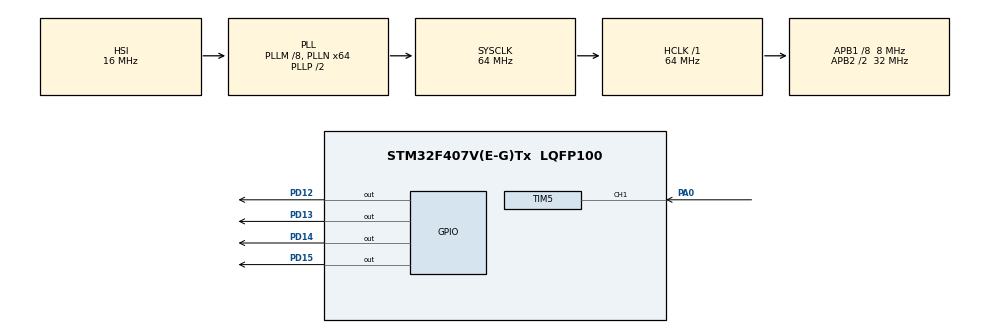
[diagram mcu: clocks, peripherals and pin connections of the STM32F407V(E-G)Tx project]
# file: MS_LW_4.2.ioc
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Mcu.Family=STM32F4
Mcu.Name=STM32F407V(E-G)Tx
Mcu.Package=LQFP100
NVIC.PriorityGroup=NVIC_PRIORITYGROUP_0
NVIC.TIM4_IRQn=true\:0\:0\:false\:false\:true\:true\:true\:true
NVIC.TIM5_IRQn=true\:0\:0\:false\:false\:true\:true\:true\:true
PA0-WKUP.Signal=S_TIM5_CH1
PD12.Signal=GPIO_Output
PD13.Signal=GPIO_Output
PD14.Signal=GPIO_Output
PD15.Signal=GPIO_Output
ProjectManager.HeapSize=0x200
ProjectManager.StackSize=0x400
ProjectManager.TargetToolchain=STM32CubeIDE
RCC.48MHZClocksFreq_Value=18285714.285714287
RCC.AHBFreq_Value=64000000
RCC.APB1CLKDivider=RCC_HCLK_DIV8
RCC.APB1Freq_Value=8000000
RCC.APB1TimFreq_Value=16000000
RCC.APB2CLKDivider=RCC_HCLK_DIV2
RCC.APB2Freq_Value=32000000
RCC.APB2TimFreq_Value=64000000
RCC.CortexFreq_Value=64000000
RCC.HCLKFreq_Value=64000000
RCC.HSE_VALUE=8000000
RCC.HSI_VALUE=16000000
RCC.LSE_VALUE=32768
RCC.PLLM=8
RCC.PLLN=64
RCC.PLLQ=7
RCC.SYSCLKFreq_VALUE=64000000
RCC.SYSCLKSource=RCC_SYSCLKSOURCE_PLLCLK
RCC.VCOOutputFreq_Value=128000000
SH.S_TIM5_CH1.0=TIM5_CH1,Input_Capture1_from_TI1
TIM4.Period=3000
TIM4.Prescaler=16000-1
TIM5.Channel-Input_Capture1_from_TI1=TIM_CHANNEL_1
TIM5.ICFilter_CH1=15
TIM5.ICPolarity_CH1=TIM_INPUTCHANNELPOLARITY_FALLING
TIM5.Period=9000
TIM5.Prescaler=16000-1
VP_TIM4_VS_ClockSourceINT.Mode=Internal
VP_TIM5_VS_ClockSourceINT.Mode=Internal
board=STM32F407G-DISC1

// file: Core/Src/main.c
/* USER CODE BEGIN Header */
/**
  ******************************************************************************
  * @file           : main.c
  * @brief          : Main program body
  ******************************************************************************
  * @attention
  *
  * Copyright (c) 2023 STMicroelectronics.
  * All rights reserved.
  *
  * This software is licensed under terms that can be found in the LICENSE file
  * in the root directory of this software component.
  * If no LICENSE file comes with this software, it is provided AS-IS.
  *
  ******************************************************************************
  */
/* USER CODE END Header */
#include "main.h"

TIM_HandleTypeDef htim4;
TIM_HandleTypeDef htim5;

/* USER CODE BEGIN PV */
extern inputCaptureVal;
extern temp;
/* USER CODE END PV */

void SystemClock_Config(void);
static void MX_GPIO_Init(void);
static void MX_TIM5_Init(void);
static void MX_TIM4_Init(void);

/* USER CODE BEGIN 0 */
uint32_t counterVal;
/* USER CODE END 0 */

int main(void)
{

  /* MCU Configuration--------------------------------------------------------*/

  /* Reset of all peripherals, Initializes the Flash interface and the Systick. */
  HAL_Init();

  /* Configure the system clock */
  SystemClock_Config();

  /* Initialize all configured peripherals */
  MX_GPIO_Init();
  MX_TIM5_Init();
  MX_TIM4_Init();
  /* USER CODE BEGIN 2 */
  HAL_TIM_Base_Start_IT(&htim4);
  HAL_TIM_IC_Start_IT(&htim5, TIM_CHANNEL_1);
  /* USER CODE END 2 */

  /* Infinite loop */
  while (1)
  {

    /* USER CODE BEGIN 3 */
	  counterVal = __HAL_TIM_GetCounter(&htim5);
	if(inputCaptureVal < 3000){
		HAL_GPIO_WritePin(GPIOD, GPIO_PIN_14, GPIO_PIN_SET);
		HAL_GPIO_WritePin(GPIOD, GPIO_PIN_12, GPIO_PIN_RESET);
		HAL_GPIO_WritePin(GPIOD, GPIO_PIN_13, GPIO_PIN_RESET);
	}
	else if(inputCaptureVal >= 3000 & inputCaptureVal < 6000){
		HAL_GPIO_WritePin(GPIOD, GPIO_PIN_14, GPIO_PIN_SET);
		HAL_GPIO_WritePin(GPIOD, GPIO_PIN_13, GPIO_PIN_SET);
		HAL_GPIO_WritePin(GPIOD, GPIO_PIN_12, GPIO_PIN_RESET);
	}
	else if(inputCaptureVal > 6000 & inputCaptureVal < 9000){
		HAL_GPIO_WritePin(GPIOD, GPIO_PIN_14, GPIO_PIN_SET);
		HAL_GPIO_WritePin(GPIOD, GPIO_PIN_13, GPIO_PIN_SET);
		HAL_GPIO_WritePin(GPIOD, GPIO_PIN_12, GPIO_PIN_SET);
	}
	else{
		HAL_GPIO_WritePin(GPIOD, GPIO_PIN_14, GPIO_PIN_RESET);
		HAL_GPIO_WritePin(GPIOD, GPIO_PIN_13, GPIO_PIN_RESET);
		HAL_GPIO_WritePin(GPIOD, GPIO_PIN_12, GPIO_PIN_RESET);
	}
  }
  /* USER CODE END 3 */
}

void SystemClock_Config(void)
{
  RCC_OscInitTypeDef RCC_OscInitStruct = {0};
  RCC_ClkInitTypeDef RCC_ClkInitStruct = {0};

  /** Configure the main internal regulator output voltage
  */
  __HAL_RCC_PWR_CLK_ENABLE();
  __HAL_PWR_VOLTAGESCALING_CONFIG(PWR_REGULATOR_VOLTAGE_SCALE1);

  /** Initializes the RCC Oscillators according to the specified parameters
  * in the RCC_OscInitTypeDef structure.
  */
  RCC_OscInitStruct.OscillatorType = RCC_OSCILLATORTYPE_HSI;
  RCC_OscInitStruct.HSIState = RCC_HSI_ON;
  RCC_OscInitStruct.HSICalibrationValue = RCC_HSICALIBRATION_DEFAULT;
  RCC_OscInitStruct.PLL.PLLState = RCC_PLL_ON;
  RCC_OscInitStruct.PLL.PLLSource = RCC_PLLSOURCE_HSI;
  RCC_OscInitStruct.PLL.PLLM = 8;
  RCC_OscInitStruct.PLL.PLLN = 64;
  RCC_OscInitStruct.PLL.PLLP = RCC_PLLP_DIV2;
  RCC_OscInitStruct.PLL.PLLQ = 7;
  if (HAL_RCC_OscConfig(&RCC_OscInitStruct) != HAL_OK)
  {
    Error_Handler();
  }

  /** Initializes the CPU, AHB and APB buses clocks
  */
  RCC_ClkInitStruct.ClockType = RCC_CLOCKTYPE_HCLK|RCC_CLOCKTYPE_SYSCLK
                              |RCC_CLOCKTYPE_PCLK1|RCC_CLOCKTYPE_PCLK2;
  RCC_ClkInitStruct.SYSCLKSource = RCC_SYSCLKSOURCE_PLLCLK;
  RCC_ClkInitStruct.AHBCLKDivider = RCC_SYSCLK_DIV1;
  RCC_ClkInitStruct.APB1CLKDivider = RCC_HCLK_DIV8;
  RCC_ClkInitStruct.APB2CLKDivider = RCC_HCLK_DIV2;

  if (HAL_RCC_ClockConfig(&RCC_ClkInitStruct, FLASH_LATENCY_2) != HAL_OK)
  {
    Error_Handler();
  }
}

static void MX_TIM4_Init(void)
{

  TIM_ClockConfigTypeDef sClockSourceConfig = {0};
  TIM_MasterConfigTypeDef sMasterConfig = {0};

  htim4.Instance = TIM4;
  htim4.Init.Prescaler = 16000-1;
  htim4.Init.CounterMode = TIM_COUNTERMODE_UP;
  htim4.Init.Period = 3000;
  htim4.Init.ClockDivision = TIM_CLOCKDIVISION_DIV1;
  htim4.Init.AutoReloadPreload = TIM_AUTORELOAD_PRELOAD_DISABLE;
  if (HAL_TIM_Base_Init(&htim4) != HAL_OK)
  {
    Error_Handler();
  }
  sClockSourceConfig.ClockSource = TIM_CLOCKSOURCE_INTERNAL;
  if (HAL_TIM_ConfigClockSource(&htim4, &sClockSourceConfig) != HAL_OK)
  {
    Error_Handler();
  }
  sMasterConfig.MasterOutputTrigger = TIM_TRGO_RESET;
  sMasterConfig.MasterSlaveMode = TIM_MASTERSLAVEMODE_DISABLE;
  if (HAL_TIMEx_MasterConfigSynchronization(&htim4, &sMasterConfig) != HAL_OK)
  {
    Error_Handler();
  }

}

static void MX_TIM5_Init(void)
{

  TIM_ClockConfigTypeDef sClockSourceConfig = {0};
  TIM_MasterConfigTypeDef sMasterConfig = {0};
  TIM_IC_InitTypeDef sConfigIC = {0};

  htim5.Instance = TIM5;
  htim5.Init.Prescaler = 16000-1;
  htim5.Init.CounterMode = TIM_COUNTERMODE_UP;
  htim5.Init.Period = 9000;
  htim5.Init.ClockDivision = TIM_CLOCKDIVISION_DIV1;
  htim5.Init.AutoReloadPreload = TIM_AUTORELOAD_PRELOAD_DISABLE;
  if (HAL_TIM_Base_Init(&htim5) != HAL_OK)
  {
    Error_Handler();
  }
  sClockSourceConfig.ClockSource = TIM_CLOCKSOURCE_INTERNAL;
  if (HAL_TIM_ConfigClockSource(&htim5, &sClockSourceConfig) != HAL_OK)
  {
    Error_Handler();
  }
  if (HAL_TIM_IC_Init(&htim5) != HAL_OK)
  {
    Error_Handler();
  }
  sMasterConfig.MasterOutputTrigger = TIM_TRGO_RESET;
  sMasterConfig.MasterSlaveMode = TIM_MASTERSLAVEMODE_DISABLE;
  if (HAL_TIMEx_MasterConfigSynchronization(&htim5, &sMasterConfig) != HAL_OK)
  {
    Error_Handler();
  }
  sConfigIC.ICPolarity = TIM_INPUTCHANNELPOLARITY_FALLING;
  sConfigIC.ICSelection = TIM_ICSELECTION_DIRECTTI;
  sConfigIC.ICPrescaler = TIM_ICPSC_DIV1;
  sConfigIC.ICFilter = 15;
  if (HAL_TIM_IC_ConfigChannel(&htim5, &sConfigIC, TIM_CHANNEL_1) != HAL_OK)
  {
    Error_Handler();
  }

}

static void MX_GPIO_Init(void)
{
  GPIO_InitTypeDef GPIO_InitStruct = {0};

  /* GPIO Ports Clock Enable */
  __HAL_RCC_GPIOA_CLK_ENABLE();
  __HAL_RCC_GPIOD_CLK_ENABLE();

  /*Configure GPIO pin Output Level */
  HAL_GPIO_WritePin(GPIOD, GPIO_PIN_12|GPIO_PIN_13|GPIO_PIN_14|GPIO_PIN_15, GPIO_PIN_RESET);

  /*Configure GPIO pins : PD12 PD13 PD14 PD15 */
  GPIO_InitStruct.Pin = GPIO_PIN_12|GPIO_PIN_13|GPIO_PIN_14|GPIO_PIN_15;
  GPIO_InitStruct.Mode = GPIO_MODE_OUTPUT_PP;
  GPIO_InitStruct.Pull = GPIO_NOPULL;
  GPIO_InitStruct.Speed = GPIO_SPEED_FREQ_LOW;
  HAL_GPIO_Init(GPIOD, &GPIO_InitStruct);

}

/* USER CODE BEGIN 4 */
void HAL_TIM_PeriodElapsedCallback(TIM_HandleTypeDef *htim)
{
  /* USER CODE BEGIN Callback 0 */

  /* USER CODE END Callback 0 */

  if (htim->Instance == TIM4) {
    HAL_GPIO_TogglePin(GPIOD,GPIO_PIN_15);
  }

  /* USER CODE BEGIN Callback 1 */

  /* USER CODE END Callback 1 */
}
/* USER CODE END 4 */

void Error_Handler(void)
{
  __disable_irq();
  while (1)
  {
  }
}
